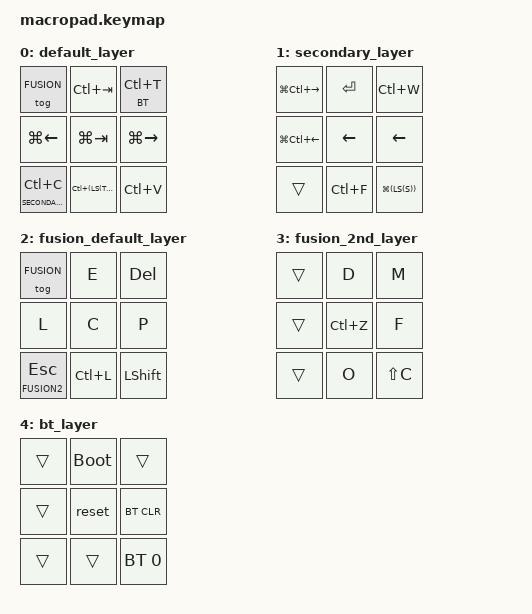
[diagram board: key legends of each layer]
#include <behaviors.dtsi>
#include <dt-bindings/zmk/keys.h>
#include <dt-bindings/zmk/bt.h>

#define DEFAULT   0
#define SECONDARY 1
#define FUSION    2
#define FUSION2   3
#define BT        4


/ {  
    keymap {
        compatible = "zmk,keymap";

        default_layer {
            bindings = <
                &tog FUSION                     &kp LC(TAB)           &lt BT LC(T)    
                &kp LG(LEFT_ARROW)              &kp LG(TAB)           &kp LG(RIGHT_ARROW)           
                &lt SECONDARY LC(C)             &kp LC((LS(TAB)))     &kp LC(V)
                         
                
            >;
        }; 

        secondary_layer {
            bindings = <
                &kp LG(LC(RIGHT_ARROW))   &kp ENTER         &kp LC(W)    
                &kp LG(LC(LEFT_ARROW))    &kp LEFT_ARROW    &kp LEFT_ARROW           
                &trans                    &kp LC(F)         &kp LG((LS(S)))
                         
                
            >;
        }; 


        fusion_default_layer {
            bindings = <
                &tog FUSION               &kp E           &kp DEL    
                &kp L                     &kp C           &kp P           
                &lt FUSION2 ESC           &kp LC(L)       &kp LSHIFT
                
            >;
        }; 

        fusion_2nd_layer {
            bindings = <
                &trans              &kp D           &kp M    
                &trans              &kp LC(Z)       &kp F           
                &trans              &kp O           &kp LS(C)
                
            >;
        }; 




        bt_layer {
            bindings = <
                &trans             &bootloader     &trans    
                &trans             &reset          &bt BT_CLR     
                &trans             &trans          &bt BT_SEL 0 
                         
                
            >;
        };

    
    };
};


